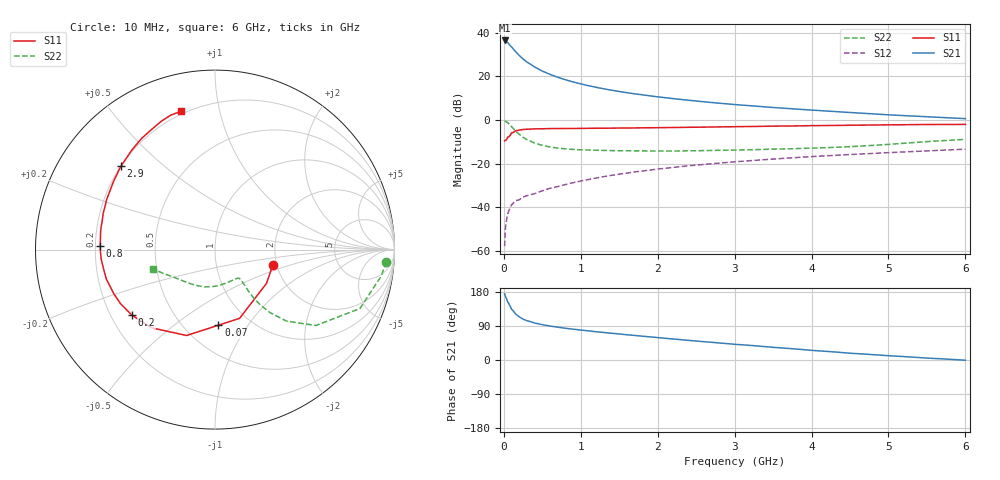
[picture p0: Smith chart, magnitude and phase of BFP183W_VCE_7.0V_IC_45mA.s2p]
! Infineon Technologies  Discrete & RF Semiconductors
! BFP183W
! VCE =  7.0 V,  IC =  45 mA
! Common Emitter S-Parameters:  Jan 2017
# GHz  S  MA  R  50
!  f  S11  S21  S12  S22
! GHz  MAG  ANG  MAG  ANG  MAG  ANG  MAG  ANG
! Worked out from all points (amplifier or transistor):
!   77 points, 10 MHz to 6 GHz, reference 50 ohm
!   highest |S21| = 36.4 dB at 10 MHz (marker M1)
!   |S21| within 3 dB of that: start of sweep to 101.4 MHz
!   unconditionally stable (mu >= 1): 746.1 MHz to 3.304 GHz
!   at 130 MHz: K = 0.37, MSG = 35.0 dB, |S12| = -37.7 dB
!   at 2.2 GHz: K = 1.06, MAG = 14.2 dB, |S12| = -21.7 dB
!   at 6 GHz: K = 0.86, MSG = 7.0 dB, |S12| = -13.4 dB
!   S11 on the Smith chart (normalised r, x): 10 MHz: 1.90, -0.37; 70 MHz: 0.72, -0.74; 200 MHz: 0.29, -0.32; 800 MHz: 0.22, +0.01; 2.9 GHz: 0.20, +0.37; 6 GHz: 0.18, +0.77
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0.01  0.3333 -15.2  66 174.5  0.0013 89.8  0.9558 -4.1
0.02  0.3431 -33.2  65.1 168.5  0.0033 80.8  0.9384 -9.0
0.05  0.4067 -70.3  59.15 153.4  0.0071 69.8  0.8718 -22.1
0.07  0.4216 -87.4  53.61 146.8  0.0088 65.5  0.7981 -27.3
0.1  0.5042 -108.3  47.04 134.2  0.0114 61.5  0.7031 -37.0
0.15  0.5617 -129.2  37.07 122.1  0.0142 52.6  0.5629 -45.0
0.2  0.5895 -141.7  29.91 113.8  0.015 51.8  0.4685 -48.8
0.25  0.6064 -150.2  24.88 107.9  0.0173 49.5  0.4024 -50.6
0.3  0.6151 -156.4  21.17 103.7  0.0186 50.5  0.3551 -51.4
0.4  0.6271 -164.8  16.3 97.5  0.0207 53.6  0.2966 -51.2
0.5  0.6305 -170.4  13.16 93.2  0.024 55.9  0.2631 -50.4
0.6  0.6362 -175.1  11.06 89.6  0.0274 57.5  0.2415 -49.9
0.7  0.6382 -178.5  9.502 86.6  0.03 60.7  0.2278 -49.3
0.8  0.6399 178.3  8.345 83.8  0.0334 62.9  0.2193 -49.3
1.1  0.6456 170.5  6.096 76.9  0.0435 64.7  0.2055 -50.9
1.5  0.6545 162.3  4.486 68.7  0.0577 65.5  0.1984 -56.0
2.1  0.67 151.1  3.234 57.3  0.0788 64.3  0.1957 -68.5
2.9  0.6995 138.4  2.339 43.3  0.1068 60.5  0.2039 -89.9
3.1  0.7062 135.4  2.19 40.1  0.1138 59.3  0.2068 -95.3
4.1  0.7451 122.1  1.644 24.1  0.1487 53.1  0.2301 -122.3
5.1  0.7778 111.7  1.287 10.2  0.1825 46.4  0.2849 -148.5
6  0.7934 103.7  1.074 -0.6  0.215 40.1  0.361 -162.6
